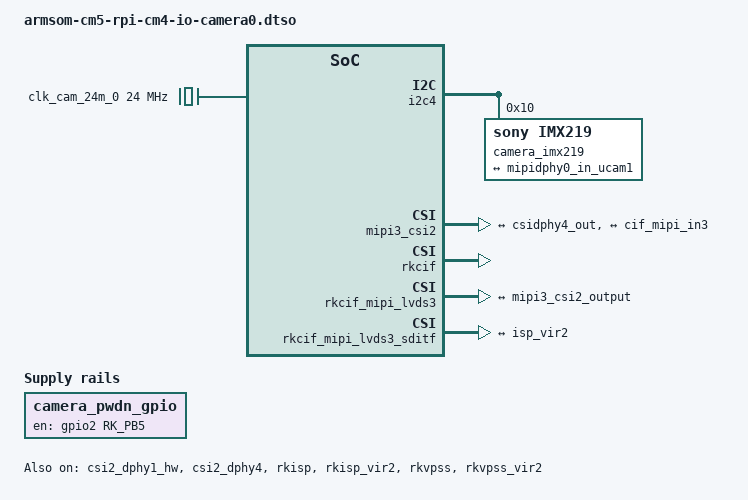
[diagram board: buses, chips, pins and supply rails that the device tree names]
/dts-v1/;
/plugin/;

#include <dt-bindings/clock/rockchip,rk3576-cru.h>
#include <dt-bindings/power/rk3576-power.h>
#include <dt-bindings/gpio/gpio.h>
#include <dt-bindings/pinctrl/rockchip.h>

/ {
	fragment@0 {
		target-path = "/";

		__overlay__ {
			camera_pwdn_gpio: camera-pwdn-gpio {
                compatible = "regulator-fixed";
                regulator-name = "camera_pwdn_gpio";
                regulator-always-on;
                regulator-boot-on;
                enable-active-high;
                gpio = <&gpio2 RK_PB5 GPIO_ACTIVE_HIGH>;
                pinctrl-names = "default";
                pinctrl-0 = <&cam_pwdn_gpio>;
            };

			clk_cam_24m_0: external-camera-clock-24m-0 {
                compatible = "fixed-clock";
                clock-frequency = <24000000>;
                clock-output-names = "clk_cam_24m_0";
                #clock-cells = <0>;
            };
        };
    };

	fragment@1 {
		target = <&i2c4>;

		__overlay__ {
			status = "okay";
            pinctrl-0 = <&i2c4m3_xfer>;
            #address-cells = <1>;
            #size-cells = <0>;

			camera_imx219: camera-imx219@10 {
                compatible = "sony,imx219";
                reg = <0x10>;

                clocks = <&clk_cam_24m_0>;
                clock-names = "xvclk";

                rockchip,camera-module-index = <0>;
                rockchip,camera-module-facing = "front";
                rockchip,camera-module-name = "rpi-camera-v2";
                rockchip,camera-module-lens-name = "default";

                port {
                    imx219_out0: endpoint {
                        remote-endpoint = <&mipidphy0_in_ucam1>;
                        data-lanes = <1 2>;
                    };
                };
            };
		};
	};

    fragment@2 {
		target = <&csi2_dphy1_hw>;

		__overlay__ {
			status = "okay";
		};
	};



	fragment@3 {
		target = <&csi2_dphy4>;

		__overlay__ {
			status = "okay";

			ports {
                #address-cells = <1>;
                #size-cells = <0>;

                port@0 {
                    reg = <0>;
                    #address-cells = <1>;
                    #size-cells = <0>;

                    mipidphy0_in_ucam1: endpoint@2 {
                        reg = <2>;
                        remote-endpoint = <&imx219_out0>;
                        data-lanes = <1 2>;
                    };
                };

                port@1 {
                    reg = <1>;
                    #address-cells = <1>;
                    #size-cells = <0>;

                    csidphy4_out: endpoint@0 {
                        reg = <0>;
                        remote-endpoint = <&mipi3_csi2_input>;
                    };
                };
            };
		};
	};

	fragment@4 {
		target = <&mipi3_csi2>;

		__overlay__ {
			status = "okay";

			ports {
                #address-cells = <1>;
                #size-cells = <0>;

                port@0 {
                    reg = <0>;
                    #address-cells = <1>;
                    #size-cells = <0>;

                    mipi3_csi2_input: endpoint@1 {
                        reg = <1>;
                        remote-endpoint = <&csidphy4_out>;
                    };
                };

                port@1 {
                    reg = <1>;
                    #address-cells = <1>;
                    #size-cells = <0>;

                    mipi3_csi2_output: endpoint@0 {
                        reg = <0>;
                        remote-endpoint = <&cif_mipi_in3>;
                    };
                };
            };
		};
	};

	fragment@5 {
		target = <&rkcif>;

		__overlay__ {
			status = "okay";
		};
	};

	fragment@6 {
		target = <&rkcif_mipi_lvds3>;

		__overlay__ {
			status = "okay";

			port {
                cif_mipi_in3: endpoint {
                remote-endpoint = <&mipi3_csi2_output>;
                };
            };
		};
	};

	fragment@7 {
		target = <&rkcif_mipi_lvds3_sditf>;

		__overlay__ {
			status = "okay";

			port {
                mipi3_lvds_sditf: endpoint {
                    remote-endpoint = <&isp_vir2>;
                };
            };
		};
	};


	fragment@8 {
		target = <&rkcif_mmu>;

		__overlay__ {
			status = "okay";
		};
	};

	fragment@9 {
		target = <&rkisp>;

		__overlay__ {
			status = "okay";
		};
	};

	fragment@10 {
		target = <&rkisp_mmu>;

		__overlay__ {
			status = "okay";
		};
	};

	fragment@11 {
		target = <&rkisp_vir2>;

		__overlay__ {
			status = "okay";

			port {
                #address-cells = <1>;
                #size-cells = <0>;

                isp_vir2: endpoint@0 {
                    reg = <0>;
                    remote-endpoint = <&mipi3_lvds_sditf>;
                };
            };
		};
	};

    fragment@12 {
		target = <&rkvpss>;

		__overlay__ {
			status = "okay";
		};
	};

    fragment@13 {
		target = <&rkvpss_mmu>;

		__overlay__ {
			status = "okay";
		};
	};

    fragment@14 {
		target = <&rkvpss_vir2>;

		__overlay__ {
			status = "okay";
		};
	};

    fragment@15 {
		target = <&pinctrl>;

		__overlay__ {
			camera {
                cam_pwdn_gpio: cam-pwdn-gpio {
                    rockchip,pins = <2 RK_PB5 RK_FUNC_GPIO &pcfg_pull_up>;
                };
            };
		};
	};
	
};
